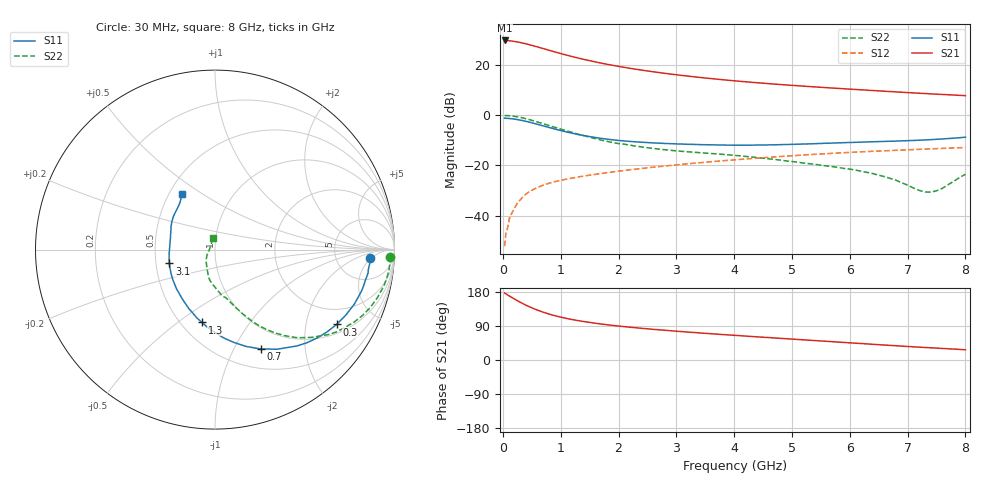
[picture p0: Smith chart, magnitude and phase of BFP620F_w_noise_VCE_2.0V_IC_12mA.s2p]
! Infineon Technologies  Discrete & RF Semiconductors
! BFP620F
! VCE =  2.0 V,  IC =  12 mA
! Common Emitter S-Parameters:  Dec 2014
# GHz  S  MA  R  50
!  f  S11  S21  S12  S22
! GHz  MAG  ANG  MAG  ANG  MAG  ANG  MAG  ANG
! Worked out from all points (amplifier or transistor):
!   95 points, 30 MHz to 8 GHz, reference 50 ohm
!   highest |S21| = 29.6 dB at 30 MHz (marker M1)
!   |S21| within 3 dB of that: start of sweep to 664.8 MHz
!   unconditionally stable (mu >= 1): 3.661 GHz to end of sweep
!   at 300 MHz: K = 0.21, MSG = 31.2 dB, |S12| = -33.7 dB
!   at 3.3 GHz: K = 0.98, MSG = 17.2 dB, |S12| = -19.1 dB
!   at 8 GHz: K = 1.08, MAG = 8.6 dB, |S12| = -12.9 dB
!   lowest NFmin = 0.64 dB at 450 MHz
!   S11 on the Smith chart (normalised r, x): 30 MHz: 12, -5; 300 MHz: 1.32, -3.00; 700 MHz: 0.73, -1.28; 1.3 GHz: 0.63, -0.62; 3.1 GHz: 0.59, -0.10; 8 GHz: 0.58, +0.42
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0.03  0.8657 -3.2  30.29 176.6  0.0025 70.2  0.9781 -2.3
0.08  0.8627 -8.7  30.15 171.9  0.0057 91.4  0.9763 -6.5
0.15  0.847 -16.3  29.53 165.5  0.011 80.8  0.961 -12.4
0.25  0.815 -26.6  28.3 156.6  0.0179 74.2  0.9241 -20.3
0.3  0.796 -31.6  27.6 152.5  0.0207 72.9  0.9006 -24.0
0.4  0.7507 -41.2  26 144.6  0.0271 69.7  0.8451 -30.8
0.45  0.729 -45.4  25.08 141.1  0.0297 68.1  0.8189 -34.0
0.6  0.6543 -58.0  22.52 131.5  0.0367 64.1  0.7282 -42.2
0.7  0.6093 -65.3  20.88 126.0  0.0407 61.7  0.6729 -46.9
0.8  0.5675 -72.1  19.32 121.2  0.0444 60.0  0.6197 -50.8
1  0.495 -84.3  16.66 113.2  0.0506 57.5  0.5275 -57.3
1.1  0.4629 -89.8  15.51 109.7  0.0535 56.7  0.4873 -60.1
1.3  0.4123 -100.1  13.58 104.0  0.059 55.4  0.4184 -64.6
1.4  0.3936 -104.9  12.76 101.5  0.0617 55.0  0.3899 -66.7
1.9  0.3228 -126.2  9.723 91.3  0.0743 53.9  0.285 -75.9
2.7  0.2772 -152.8  6.984 79.7  0.0949 51.8  0.2111 -89.6
3.1  0.2659 -163.1  6.118 74.9  0.1052 50.5  0.1905 -94.6
4.1  0.2529 175.6  4.686 64.1  0.1318 46.7  0.1553 -103.2
5.4  0.271 154.9  3.621 51.2  0.1666 40.1  0.1052 -116.0
6.7  0.3023 137.3  2.931 38.5  0.1978 32.2  0.0553 -144.0
7.4  0.3253 127.1  2.638 32.2  0.2134 28.3  0.0295 154.4
8  0.3636 120.8  2.434 27.0  0.2275 24.4  0.0668 101.0
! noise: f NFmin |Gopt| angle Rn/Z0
0.45  0.64  0.22  8  0.21
0.9  0.71  0.2  19  0.18
1.5  0.76  0.19  21  0.13
1.8  0.79  0.19  23  0.11
1.9  0.8  0.14  38  0.14
2.4  0.84  0.12  53  0.12
3.5  0.93  0.11  76  0.12
5.5  1.1  0.1  193  0.09
6  1.14  0.1  221  0.14
